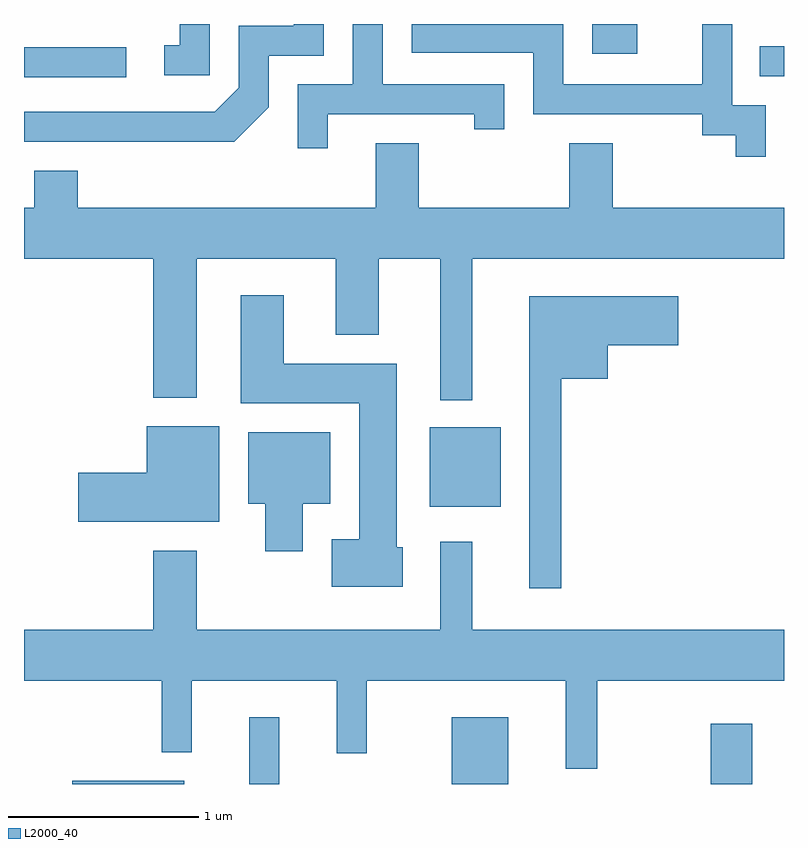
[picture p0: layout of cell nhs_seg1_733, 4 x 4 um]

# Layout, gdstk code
import gdstk
lib = gdstk.Library(unit=1e-6, precision=1e-09)
def R(c, l, rs):  # rectangles x0, y0, x1, y1
    for r in rs: c.add(gdstk.rectangle(r[:2], r[2:], *l))
def P(c, l, *ps):  # polygons
    for p in ps: c.add(gdstk.Polygon(p, *l))
L2000_40 = (2000, 40)

nhs_seg1_733 = lib.new_cell('nhs_seg1_733')
R(nhs_seg1_733, L2000_40, [(207.866,885.712,208.454,885.729), (208.796,885.712,208.954,886.063), (209.861,885.712,210.159,886.064), (211.226,885.712,211.444,886.029), (209.746,887.171,210.119,887.589), (207.611,889.431,208.148,889.589), (211.483,889.436,211.611,889.594), (210.601,889.556,210.838,889.712)])
P(nhs_seg1_733, L2000_40, [(208.899,889.274),(208.899,889.546),(209.189,889.546),(209.189,889.712),(209.031,889.712),(209.031,889.704),(208.741,889.704),(208.741,889.377),(208.614,889.249),(207.611,889.249),(207.611,889.091),(208.717,889.091)],
  [(209.209,889.236),(209.981,889.236),(209.981,889.158),(210.139,889.158),(210.139,889.394),(209.499,889.394),(209.499,889.712),(209.341,889.712),(209.341,889.394),(209.051,889.394),(209.051,889.058),(209.209,889.058)],
  [(208.589,889.712),(208.431,889.712),(208.431,889.599),(208.348,889.599),(208.348,889.441),(208.589,889.441)],
  [(211.514,889.284),(211.339,889.284),(211.339,889.712),(211.181,889.712),(211.181,889.394),(210.449,889.394),(210.449,889.712),(209.651,889.712),(209.651,889.561),(210.291,889.561),(210.291,889.236),(211.181,889.236),(211.181,889.126),(211.356,889.126),(211.356,889.013),(211.514,889.013)],
  [(209.969,888.476),(211.611,888.476),(211.611,888.744),(210.709,888.744),(210.709,889.084),(210.481,889.084),(210.481,888.744),(209.689,888.744),(209.689,889.084),(209.461,889.084),(209.461,888.744),(207.894,888.744),(207.894,888.939),(207.666,888.939),(207.666,888.744),(207.611,888.744),(207.611,888.476),(208.291,888.476),(208.291,887.746),(208.519,887.746),(208.519,888.476),(209.251,888.476),(209.251,888.076),(209.479,888.076),(209.479,888.476),(209.801,888.476),(209.801,887.733),(209.969,887.733)],
  [(209.604,886.959),(209.574,886.959),(209.574,887.924),(208.979,887.924),(208.979,888.284),(208.751,888.284),(208.751,887.716),(209.376,887.716),(209.376,886.999),(209.231,886.999),(209.231,886.751),(209.604,886.751)],
  [(210.439,887.846),(210.684,887.846),(210.684,888.021),(211.054,888.021),(211.054,888.279),(210.271,888.279),(210.271,886.743),(210.439,886.743)],
  [(208.639,887.594),(208.256,887.594),(208.256,887.349),(207.896,887.349),(207.896,887.091),(208.639,887.091)],
  [(209.079,887.186),(209.224,887.186),(209.224,887.564),(208.791,887.564),(208.791,887.186),(208.881,887.186),(208.881,886.936),(209.079,886.936)],
  [(210.629,886.256),(211.611,886.256),(211.611,886.524),(209.969,886.524),(209.969,886.988),(209.801,886.988),(209.801,886.524),(208.519,886.524),(208.519,886.939),(208.291,886.939),(208.291,886.524),(207.611,886.524),(207.611,886.256),(208.336,886.256),(208.336,885.878),(208.494,885.878),(208.494,886.256),(209.256,886.256),(209.256,885.873),(209.414,885.873),(209.414,886.256),(210.461,886.256),(210.461,885.793),(210.629,885.793)])

lib.write_gds('nhs_seg1_733.gds')
